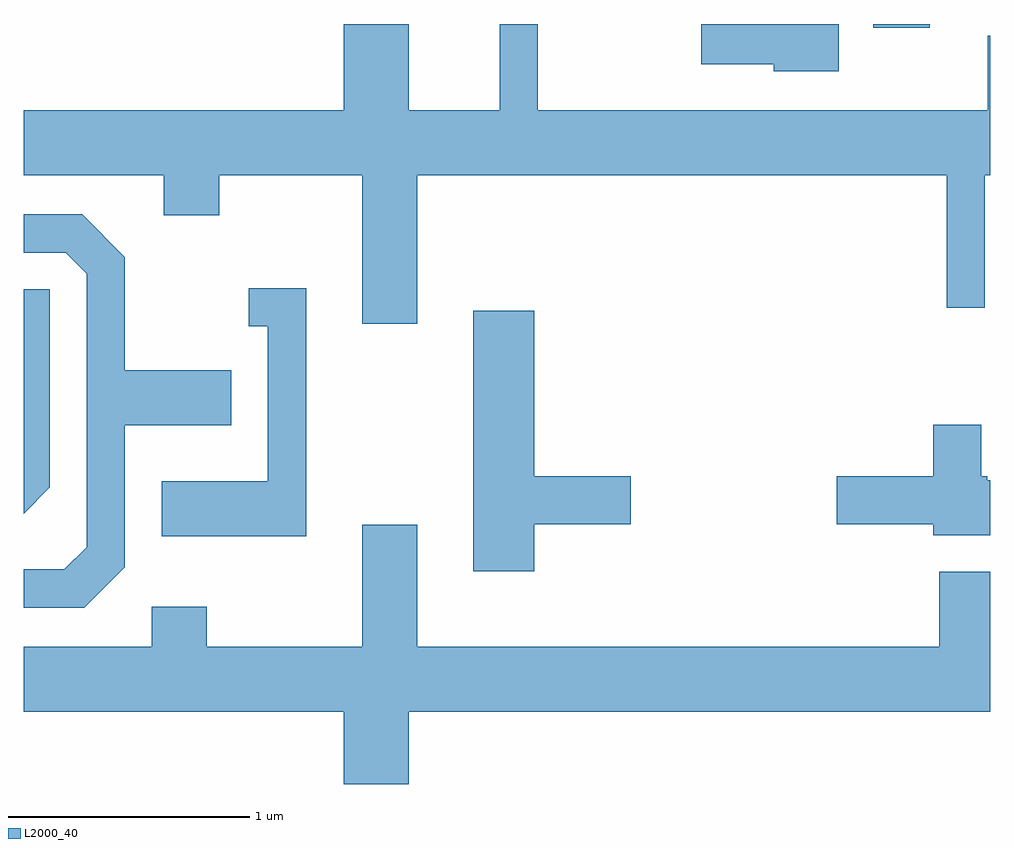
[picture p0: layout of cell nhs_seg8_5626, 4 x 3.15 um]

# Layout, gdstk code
import gdstk
lib = gdstk.Library(unit=1e-6, precision=1e-09)
def P(c, l, *ps):  # polygons
    for p in ps: c.add(gdstk.Polygon(p, *l))
L2000_40 = (2000, 40)

nhs_seg8_5626 = lib.new_cell('nhs_seg8_5626')
P(nhs_seg8_5626, L2000_40, [(355.239,1869.716),(357.431,1869.716),(357.431,1869.168),(357.589,1869.168),(357.589,1869.716),(357.611,1869.716),(357.611,1870.294),(357.601,1870.294),(357.601,1869.984),(355.739,1869.984),(355.739,1870.342),(355.581,1870.342),(355.581,1869.984),(355.204,1869.984),(355.204,1870.342),(354.936,1870.342),(354.936,1869.984),(353.611,1869.984),(353.611,1869.716),(354.191,1869.716),(354.191,1869.551),(354.419,1869.551),(354.419,1869.716),(355.011,1869.716),(355.011,1869.101),(355.239,1869.101)],
  [(357.36,1870.34),(357.362,1870.342),(357.128,1870.342),(357.128,1870.326),(357.36,1870.326)],
  [(356.984,1870.342),(356.416,1870.342),(356.416,1870.176),(356.716,1870.176),(356.716,1870.146),(356.984,1870.146)],
  [(354.029,1868.094),(354.029,1868.681),(354.469,1868.681),(354.469,1868.909),(354.029,1868.909),(354.029,1869.377),(353.852,1869.554),(353.611,1869.554),(353.611,1869.396),(353.784,1869.396),(353.871,1869.309),(353.871,1868.177),(353.779,1868.084),(353.611,1868.084),(353.611,1867.926),(353.862,1867.926)],
  [(354.779,1869.249),(354.543,1869.249),(354.543,1869.091),(354.621,1869.091),(354.621,1868.449),(354.181,1868.449),(354.181,1868.221),(354.779,1868.221)],
  [(353.719,1868.424),(353.719,1869.244),(353.611,1869.244),(353.611,1868.315)],
  [(355.724,1868.271),(356.124,1868.271),(356.124,1868.469),(355.724,1868.469),(355.724,1869.154),(355.471,1869.154),(355.471,1868.076),(355.724,1868.076)],
  [(357.611,1868.454),(357.6,1868.454),(357.6,1868.469),(357.574,1868.469),(357.574,1868.684),(357.376,1868.684),(357.376,1868.469),(356.976,1868.469),(356.976,1868.271),(357.376,1868.271),(357.376,1868.226),(357.611,1868.226)],
  [(355.011,1867.764),(354.369,1867.764),(354.369,1867.929),(354.141,1867.929),(354.141,1867.764),(353.611,1867.764),(353.611,1867.496),(354.936,1867.496),(354.936,1867.196),(355.204,1867.196),(355.204,1867.496),(357.611,1867.496),(357.611,1868.074),(357.401,1868.074),(357.401,1867.764),(355.239,1867.764),(355.239,1868.269),(355.011,1868.269)])

lib.write_gds('nhs_seg8_5626.gds')
